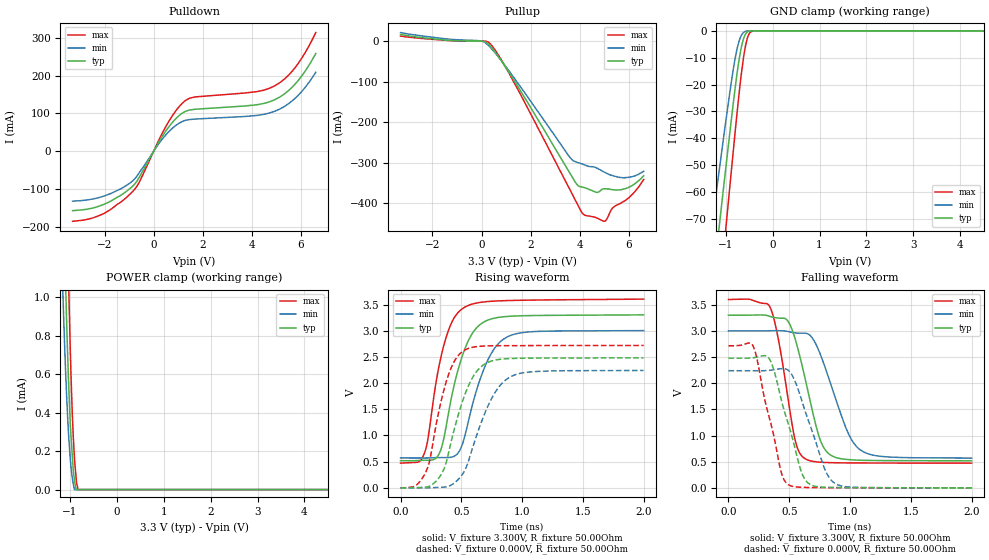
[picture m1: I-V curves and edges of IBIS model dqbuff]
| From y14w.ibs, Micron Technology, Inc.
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|   dqbuff MODEL
[Model]   dqbuff
Model_type   I/O
Vinl = 800.000mV
Vinh = 2.000V
Vmeas = 1.500V
Cref = 50.000pF
|   typ   min   max
C_comp   4.150pF   3.800pF   4.500pF
[Voltage Range]   3.300V   3.000V   3.600V
| Junction Temperature (Ambient temp is 25C typ, 70C min, 0C max)
[Temperature Range]   40.0   85.0   0.0
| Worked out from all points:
|   slope of the pulldown table from 0 to 0.495 V, typ, clamps not added: 9.24 ohm
|   slope of the pullup table from 0 to 0.495 V, typ, clamps not added: 22 ohm
|   GND clamp passes 1 mA (typ) near -0.57 V on its own axis
|   POWER clamp passes 1 mA (typ) near -1.08 V on its own axis
|   falling waveform, V_fixture 3.300V, R_fixture 50.00Ohm: 20-80 % time 172ps typ, 221ps min, 133ps max; typ from 3.3 V to 0.517 V
|   rising waveform, V_fixture 3.300V, R_fixture 50.00Ohm: 20-80 % time 178ps typ, 199ps min, 154ps max; typ from 0.517 V to 3.3 V
|   rising waveform, V_fixture 0.000V, R_fixture 50.00Ohm: 20-80 % time 189ps typ, 221ps min, 155ps max; typ from 0 V to 2.48 V
|   falling waveform, V_fixture 0.000V, R_fixture 50.00Ohm: 20-80 % time 172ps typ, 191ps min, 152ps max; typ from 2.48 V to 0 V
[Pulldown]
|   Voltage   I(typ)   I(min)   I(max)
-3.3V     -157mA     -131.8mA   -185.1mA
-2.025V   -140.3mA   -118.4mA   -164.7mA
-845mV    -91.65mA   -77.88mA   -105.7mA
-590mV    -69.13mA   -57.18mA   -82.17mA
485mV     52.67mA    42.53mA    64.04mA
860mV     83.2mA     66.03mA    103mA
1.255V    104.1mA    80.87mA    132mA
1.73V     111.2mA    85.22mA    143.7mA
4.22V     123mA      94.78mA    157.8mA
4.91V     135.5mA    105.2mA    172.2mA
5.75V     176.8mA    139.4mA    220.2mA
6.6V      258.2mA    208.5mA    313.6mA
[GND Clamp]
|   Voltage   I(typ)   I(min)   I(max)
-3.3V     -878.4mA   -744.8mA   -1.059A
-1.32V    -101.7mA   -76.5mA    -133.2mA
-1.27V    -93.73mA   -69.57mA   -123.9mA
-1.22V    -85.81mA   -62.83mA   -114.6mA
-1.025V   -55.31mA   -37.2mA    -78.74mA
-895mV    -35.43mA   -20.89mA   -55.05mA
-765mV    -16.85mA   -7.342mA   -31.87mA
-665mV    -6.046mA   -1.661mA   -15.93mA
-580mV    -1.31mA    -215uA     -5.879mA
-510mV    -182.9uA   0A         -1.454mA
-395mV    0A         0A         0A
6.6V      0A         0A         0A
[Pullup]
|   Voltage   I(typ)   I(min)   I(max)
-3.3V     16.16mA    20.94mA    12.15mA
0V        -10.41uA   -11.91uA   -47.31uA
360mV     -12.59mA   -15.92mA   -7.302mA
1.125V    -78.06mA   -74.11mA   -80.07mA
3.62V     -328.1mA   -288.6mA   -369mA
3.875V    -353mA     -298.7mA   -399.1mA
4.15V     -360.8mA   -304.2mA   -427.5mA
4.705V    -373.3mA   -313.6mA   -436.6mA
5.035V    -364.2mA   -324.4mA   -443.7mA
5.32V     -366.3mA   -331.5mA   -412.6mA
5.85V     -363.9mA   -336.7mA   -393.2mA
6.6V      -332.2mA   -321mA     -341.4mA
[POWER Clamp]
|   Voltage   I(typ)   I(min)   I(max)
-3.3V     41.97mA    36.27mA    47.99mA
-1.155V   1.734mA    1.077mA    2.784mA
-1.14V    1.568mA    959.5uA    2.556mA
-1.095V   1.112mA    644.4uA    1.92mA
-1.07V    887.9uA    495.1uA    1.595mA
-1.025V   545.1uA    279.5uA    1.068mA
-990mV    338uA      158uA      723.6uA
-955mV    203.4uA    74.35uA    446.2uA
-895mV    37.53uA    0A         140.3uA
-855mV    0A         0A         30.55uA
-825mV    0A         0A         0A
6.6V      0A         0A         0A
[Ramp]
R_load = 50.00Ohm
|   typ   min   max
dV/dt_r   1.489V/188.857ps   1.345V/220.845ps   1.631V/155.176ps
dV/dt_f   1.671V/172.042ps   1.459V/221.089ps   1.879V/133.396ps
[Falling Waveform]
V_fixture = 3.300V
V_fixture_min = 3.000V
V_fixture_max = 3.600V
R_fixture = 50.00Ohm
|   Time   V(typ)   V(min)   V(max)
0s        3.302V     3.002V     3.603V
345ps     3.277V     3.004V     3.442V
410ps     3.248V     3.006V     2.849V
495ps     3.169V     2.989V     1.634V
560ps     2.758V     2.961V     814.4mV
630ps     2.098V     2.959V     558mV
785ps     765.5mV    2.371V     486.3mV
970ps     543.8mV    1.127V     477.5mV
1.085ns   528.3mV    725.2mV    476mV
2ns       516.8mV    569.5mV    472mV
[Rising Waveform]
V_fixture = 3.300V
V_fixture_min = 3.000V
V_fixture_max = 3.600V
R_fixture = 50.00Ohm
|   Time   V(typ)   V(min)   V(max)
0s        516.8mV    569.5mV    472mV
195ps     526mV      568.7mV    650.4mV
225ps     525.4mV    569.3mV    930.4mV
310ps     620.8mV    577.1mV    2.244V
350ps     878.1mV    577.6mV    2.666V
410ps     1.619V     581.7mV    3.1V
515ps     2.563V     875.7mV    3.43V
685ps     3.165V     2.262V     3.549V
850ps     3.267V     2.844V     3.573V
2ns       3.302V     3.002V     3.603V
[Rising Waveform]
V_fixture = 0.000V
V_fixture_min = 0.000V
V_fixture_max = 0.000V
R_fixture = 50.00Ohm
|   Time   V(typ)   V(min)   V(max)
0s        -279.7uV   -359uV     -217.7uV
205ps     12.36mV    -1.114mV   286.9mV
240ps     32.24mV    332.6uV    522.6mV
320ps     203.9mV    8.624mV    1.512V
420ps     914.1mV    57.05mV    2.31V
525ps     1.753V     318.1mV    2.625V
620ps     2.203V     958.4mV    2.694V
730ps     2.406V     1.616V     2.711V
905ps     2.469V     2.12V      2.715V
2ns       2.481V     2.241V     2.718V
[Falling Waveform]
V_fixture = 0.000V
V_fixture_min = 0.000V
V_fixture_max = 0.000V
R_fixture = 50.00Ohm
|   Time   V(typ)   V(min)   V(max)
0s        2.481V     2.241V     2.718V
205ps     2.488V     2.24V      2.703V
340ps     2.453V     2.249V     1.311V
435ps     1.683V     2.28V      293.3mV
495ps     1.204V     2.242V     57.39mV
590ps     374.8mV    1.768V     11.9mV
635ps     141.4mV    1.438V     8.176mV
795ps     10.66mV    342.8mV    4.031mV
875ps     6.188mV    87.42mV    3.362mV
2ns       -279.7uV   -359uV     -217.7uV
